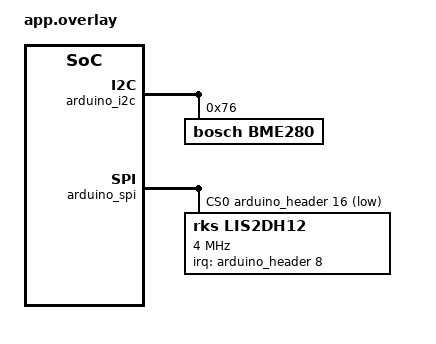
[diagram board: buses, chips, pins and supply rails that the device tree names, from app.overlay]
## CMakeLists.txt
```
# Author: Raguram Kasthurisamy
cmake_minimum_required(VERSION 3.20.0)
find_package(Zephyr REQUIRED HINTS $ENV{ZEPHYR_BASE})
project(ble_sensor_node)

target_sources(app PRIVATE
  src/main.c
  src/app_state.c
  src/ble_service.c
  src/channels.c
  src/node_config.c
  src/node_watchdog.c
  src/sensors.c
  src/telemetry.c
)
# The low-power build drops the shell entirely (overlay-low-power.conf).
target_sources_ifdef(CONFIG_SHELL app PRIVATE src/shell_cmds.c)
```

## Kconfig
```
# Author: Raguram Kasthurisamy
mainmenu "BLE sensor node"

config APP_SAMPLE_INTERVAL_MS
	int "Default sampling and reporting interval (ms)"
	default 1000
	range 100 10000
	help
	  How often the node reads its sensors and notifies a subscribed phone. Changeable at run
	  time over BLE or the shell; the new value is kept in flash.

config APP_SLOW_ADVERTISING
	bool "Advertise at about 1 s intervals to save power"
	help
	  Off: fast connectable advertising for quick connections during development.
	  On: slow advertising for battery-powered use (set by overlay-low-power.conf).

source "Kconfig.zephyr"
```

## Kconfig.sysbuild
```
# Author: Raguram Kasthurisamy
# On the nRF5340 the Bluetooth radio runs on the network core: build its firmware too.
# These defaults have no effect on single-core chips such as the nRF52840.
source "${ZEPHYR_BASE}/share/sysbuild/Kconfig"

config NRF_DEFAULT_IPC_RADIO
	default y

config NETCORE_IPC_RADIO_BT_HCI_IPC
	default y
```

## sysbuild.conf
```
# Author: Raguram Kasthurisamy
# MCUboot as the bootloader: images are signed, and an update is tried once and reverted
# unless the new firmware confirms itself after passing its self-test.
SB_CONFIG_BOOTLOADER_MCUBOOT=y
SB_CONFIG_BOOT_SIGNATURE_TYPE_ECDSA_P256=y
# Your own signing key: create it with scripts/gen_signing_key.sh and pass it on the command
# line (see README). Without it, MCUboot's public development key is used, which is fine for
# trying things out and useless for security.
```

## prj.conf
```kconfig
# Author: Raguram Kasthurisamy
# ---- Diagnostics -----------------------------------------------------------------------
CONFIG_LOG=y
CONFIG_SHELL=y
CONFIG_ASSERT=y
CONFIG_HWINFO=y
CONFIG_REBOOT=y

# ---- Sensors: BME280 (upstream driver, I2C) and LIS2DH12 (project driver, SPI) ------------
CONFIG_SENSOR=y
CONFIG_I2C=y
CONFIG_SPI=y
CONFIG_GPIO=y
CONFIG_RKS_LIS2DH12_TRIGGER=y

# ---- Inter-module messaging ---------------------------------------------------------------
CONFIG_ZBUS=y
CONFIG_ZBUS_CHANNEL_NAME=y

# ---- Bluetooth LE peripheral with LE Secure Connections ----------------------------------
CONFIG_BT=y
CONFIG_BT_PERIPHERAL=y
CONFIG_BT_DEVICE_NAME="RKS Sensor Node"
CONFIG_BT_DEVICE_APPEARANCE=1344
CONFIG_BT_MAX_CONN=1
CONFIG_BT_SMP=y
CONFIG_BT_SMP_SC_PAIR_ONLY=y
CONFIG_BT_SETTINGS=y
# Ask the phone for a 30-50 ms connection interval: responsive without draining power.
CONFIG_BT_PERIPHERAL_PREF_MIN_INT=24
CONFIG_BT_PERIPHERAL_PREF_MAX_INT=40
CONFIG_BT_PERIPHERAL_PREF_LATENCY=0
CONFIG_BT_PERIPHERAL_PREF_TIMEOUT=400

# ---- Persistent storage: bonds and the sampling interval --------------------------------
CONFIG_SETTINGS=y
CONFIG_FLASH=y
CONFIG_FLASH_MAP=y
CONFIG_NVS=y
CONFIG_SETTINGS_NVS=y

# ---- Firmware updates over BLE (MCUmgr SMP) and image confirmation -----------------------
CONFIG_NCS_SAMPLE_MCUMGR_BT_OTA_DFU=y
CONFIG_IMG_MANAGER=y
CONFIG_MCUBOOT_IMG_MANAGER=y
CONFIG_STREAM_FLASH=y

# ---- Watchdog: per-thread task watchdog backed by the hardware WDT ------------------------
CONFIG_WATCHDOG=y
CONFIG_TASK_WDT=y

# ---- Development kit LEDs ------------------------------------------------------------------
CONFIG_DK_LIBRARY=y

# ---- Stacks ------------------------------------------------------------------------------------
CONFIG_MAIN_STACK_SIZE=2048
CONFIG_SYSTEM_WORKQUEUE_STACK_SIZE=2048
```

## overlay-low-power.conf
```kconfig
# Author: Raguram Kasthurisamy
# Low-power build for current measurements:
#   west build -b <board> app --sysbuild -- -DEXTRA_CONF_FILE=overlay-low-power.conf
# The UART alone draws hundreds of microamps while its receiver is enabled, so the console,
# shell and logging go. Pair the phone with the normal build first: bonds are kept in flash.
CONFIG_SERIAL=n
CONFIG_CONSOLE=n
CONFIG_UART_CONSOLE=n
CONFIG_SHELL=n
CONFIG_LOG=n
CONFIG_APP_SLOW_ADVERTISING=y
```

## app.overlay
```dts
/*
 * Author: Raguram Kasthurisamy *
 * Sensors on the Arduino-compatible header. The arduino_i2c / arduino_spi / arduino_header
 * labels exist on the nRF7002 DK, so this one overlay serves both.
 *
 *   BME280    I2C SDA/SCL, address 0x76 (SDO to GND), 3.3 V
 *   LIS2DH12  SPI SCK D13, MISO D12, MOSI D11, CS D10, INT1 D2, 3.3 V
 */
/ {
	aliases {
		env-sensor = &bme280;
		accel-sensor = &lis2dh12;
	};
};

&arduino_i2c {
	status = "okay";

	bme280: bme280@76 {
		compatible = "bosch,bme280";
		reg = <0x76>;
	};
};

&arduino_spi {
	status = "okay";
	cs-gpios = <&arduino_header 16 GPIO_ACTIVE_LOW>;	/* D10 */

	lis2dh12: lis2dh12@0 {
		compatible = "rks,lis2dh12";
		reg = <0>;
		spi-max-frequency = <4000000>;
		irq-gpios = <&arduino_header 8 GPIO_ACTIVE_HIGH>;	/* D2 = INT1 */
		odr-hz = <25>;
	};
};
```

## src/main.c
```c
/*
 * Author: Raguram Kasthurisamy
 *
 * BLE sensor node: life cycle and self-test.
 *
 * The main thread owns the application state machine (app_state.c). Callbacks from other
 * threads never change state themselves; they post events to a message queue, and only this
 * thread acts on them. On every boot of a not-yet-confirmed firmware image, the self-test
 * decides whether MCUboot keeps the new image or reverts to the previous one.
 */
#include <app_version.h>
#include <zephyr/drivers/hwinfo.h>
#include <zephyr/kernel.h>
#include <zephyr/logging/log.h>
#include <zephyr/sys/atomic.h>
#include <zephyr/sys/reboot.h>

#include <dk_buttons_and_leds.h>

#ifdef CONFIG_BOOTLOADER_MCUBOOT
#include <zephyr/dfu/mcuboot.h>
#endif

#include "app_events.h"
#include "app_state.h"
#include "ble_service.h"
#include "node_watchdog.h"
#include "sensors.h"

LOG_MODULE_REGISTER(main, LOG_LEVEL_INF);

#define STATUS_LED          DK_LED1
#define ERROR_LED           DK_LED2
#define LOOP_PERIOD_MS      250
#define IDENTIFY_MS         3000
#define MAIN_WDT_TIMEOUT_MS 3000

K_MSGQ_DEFINE(event_queue, sizeof(enum app_event), 8, 4);

static atomic_t current_state = ATOMIC_INIT(APP_STATE_BOOT);
static uint32_t boot_reset_cause;

void app_post_event(enum app_event event)
{
	if (k_msgq_put(&event_queue, &event, K_NO_WAIT) != 0) {
		LOG_WRN("event queue full, dropped event %d", event);
	}
}

enum app_state app_current_state(void)
{
	return (enum app_state)atomic_get(&current_state);
}

uint32_t app_reset_cause(void)
{
	return boot_reset_cause;
}

static void report_reset_cause(void)
{
	if (hwinfo_get_reset_cause(&boot_reset_cause) != 0) {
		return;
	}
	(void)hwinfo_clear_reset_cause();
	if (boot_reset_cause & RESET_WATCHDOG) {
		LOG_WRN("reset by the watchdog: a thread stopped running");
	} else if (boot_reset_cause & RESET_SOFTWARE) {
		LOG_INF("reset by software");
	} else if (boot_reset_cause & RESET_PIN) {
		LOG_INF("reset by the reset pin");
	} else if (boot_reset_cause & (RESET_POR | RESET_BROWNOUT)) {
		LOG_INF("power-on reset");
	}
}

/* Bluetooth must work for the node to be useful (and to receive the next update). Missing
 * sensors are reported but do not fail the test: a bare DK still boots and can be updated. */
static bool run_self_test(void)
{
	bool passed = true;
	const int err = ble_init();

	if (err != 0) {
		LOG_ERR("Bluetooth initialisation failed (%d)", err);
		passed = false;
	}
	(void)sensors_init();
	if (!sensors_env_ready()) {
		LOG_WRN("environment sensor not found: continuing without it");
	}
	if (!sensors_accel_ready()) {
		LOG_WRN("accelerometer not found: continuing without it");
	}
	return passed;
}

static void confirm_or_revert(bool passed)
{
#ifdef CONFIG_BOOTLOADER_MCUBOOT
	if (boot_is_img_confirmed()) {
		return;
	}
	if (passed) {
		const int err = boot_write_img_confirmed();

		if (err != 0) {
			LOG_ERR("image confirmation failed (%d)", err);
		} else {
			LOG_INF("new firmware passed its self-test and is now confirmed");
		}
		return;
	}
	LOG_ERR("self-test failed on an unconfirmed image: rebooting into the previous one");
	k_sleep(K_MSEC(200));
	sys_reboot(SYS_REBOOT_COLD);
#else
	ARG_UNUSED(passed);
#endif
}

static void enter_state(enum app_state next, enum app_state previous)
{
	atomic_set(&current_state, next);
	LOG_INF("state: %s -> %s", app_state_name(previous), app_state_name(next));

	switch (next) {
	case APP_STATE_SELF_TEST: {
		const bool passed = run_self_test();

		confirm_or_revert(passed);
		app_post_event(passed ? APP_EVENT_SELF_TEST_PASSED : APP_EVENT_SELF_TEST_FAILED);
		break;
	}
	case APP_STATE_ADVERTISING:
		if (previous == APP_STATE_SELF_TEST) {
			sensors_start();
			const int err = ble_start_advertising();

			if (err != 0) {
				LOG_ERR("advertising failed (%d)", err);
				app_post_event(APP_EVENT_FATAL);
			}
		}
		/* After a disconnect, the BLE module restarts advertising once the connection
		 * object is released (see recycled() in ble_service.c). */
		break;
	case APP_STATE_ERROR:
		(void)dk_set_led_on(ERROR_LED);
		break;
	default:
		break;
	}
}

static void update_leds(uint32_t tick, int64_t identify_until)
{
	const enum app_state state = app_current_state();
	const bool identifying = k_uptime_get() < identify_until;

	switch (state) {
	case APP_STATE_ADVERTISING:
		(void)dk_set_led(STATUS_LED, (tick % 4u) == 0u); /* short blink every second */
		break;
	case APP_STATE_CONNECTED:
		(void)dk_set_led_on(STATUS_LED);
		break;
	default:
		(void)dk_set_led_off(STATUS_LED);
		break;
	}
	if (state != APP_STATE_ERROR) {
		(void)dk_set_led(ERROR_LED, identifying && (tick % 2u) == 0u);
	}
}

int main(void)
{
	int64_t identify_until = 0;
	uint32_t tick = 0;

	LOG_INF("BLE sensor node %s", APP_VERSION_STRING);
	report_reset_cause();
	if (dk_leds_init() != 0) {
		LOG_WRN("LEDs unavailable");
	}
	if (node_watchdog_init() != 0) {
		LOG_ERR("watchdog initialisation failed");
	}
	const int wdt_channel = node_watchdog_add(MAIN_WDT_TIMEOUT_MS);

	app_post_event(APP_EVENT_START);

	while (true) {
		enum app_event event;

		if (k_msgq_get(&event_queue, &event, K_MSEC(LOOP_PERIOD_MS)) == 0) {
			if (event == APP_EVENT_IDENTIFY) {
				identify_until = k_uptime_get() + IDENTIFY_MS;
			} else {
				const enum app_state current = app_current_state();
				const enum app_state next = app_state_next(current, event);

				if (next != current) {
					enter_state(next, current);
				}
			}
		}
		update_leds(tick++, identify_until);
		node_watchdog_feed(wdt_channel);
	}
	return 0;
}
```

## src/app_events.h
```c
/*
 * Author: Raguram Kasthurisamy */
#ifndef APP_EVENTS_H_
#define APP_EVENTS_H_

#include <stdint.h>

#include "app_state.h"

/* Queue an event for the main thread. Safe from any thread or callback (never blocks). */
void app_post_event(enum app_event event);
enum app_state app_current_state(void);
uint32_t app_reset_cause(void);

#endif /* APP_EVENTS_H_ */
```

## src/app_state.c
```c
/*
 * Author: Raguram Kasthurisamy
 */
#include "app_state.h"

enum app_state app_state_next(enum app_state current, enum app_event event)
{
	if (event == APP_EVENT_FATAL) {
		return APP_STATE_ERROR;
	}
	switch (current) {
	case APP_STATE_BOOT:
		return event == APP_EVENT_START ? APP_STATE_SELF_TEST : current;
	case APP_STATE_SELF_TEST:
		if (event == APP_EVENT_SELF_TEST_PASSED) {
			return APP_STATE_ADVERTISING;
		}
		return event == APP_EVENT_SELF_TEST_FAILED ? APP_STATE_ERROR : current;
	case APP_STATE_ADVERTISING:
		return event == APP_EVENT_CONNECTED ? APP_STATE_CONNECTED : current;
	case APP_STATE_CONNECTED:
		return event == APP_EVENT_DISCONNECTED ? APP_STATE_ADVERTISING : current;
	case APP_STATE_ERROR:
		return current; /* only a reset leaves the error state */
	}
	return current;
}

const char *app_state_name(enum app_state state)
{
	switch (state) {
	case APP_STATE_BOOT: return "boot";
	case APP_STATE_SELF_TEST: return "self-test";
	case APP_STATE_ADVERTISING: return "advertising";
	case APP_STATE_CONNECTED: return "connected";
	case APP_STATE_ERROR: return "error";
	}
	return "unknown";
}
```

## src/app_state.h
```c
/*
 * Author: Raguram Kasthurisamy
 *
 * Application life cycle as an explicit state machine. The transition function is pure, so
 * every path is unit tested; main.c performs the actions on entering each state.
 */
#ifndef APP_STATE_H_
#define APP_STATE_H_

enum app_state {
	APP_STATE_BOOT,
	APP_STATE_SELF_TEST,
	APP_STATE_ADVERTISING,
	APP_STATE_CONNECTED,
	APP_STATE_ERROR,
};

enum app_event {
	APP_EVENT_START,
	APP_EVENT_SELF_TEST_PASSED,
	APP_EVENT_SELF_TEST_FAILED,
	APP_EVENT_CONNECTED,
	APP_EVENT_DISCONNECTED,
	APP_EVENT_FATAL,
	APP_EVENT_IDENTIFY, /* blink the LEDs; no state change */
};

enum app_state app_state_next(enum app_state current, enum app_event event);
const char *app_state_name(enum app_state state);

#endif /* APP_STATE_H_ */
```

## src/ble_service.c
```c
/*
 * Author: Raguram Kasthurisamy
 *
 * Bluetooth LE peripheral with one custom GATT service:
 *   telemetry  read + notify   needs an encrypted link to read or to subscribe
 *   command    write           needs an authenticated (passkey) pairing
 *   interval   read + write    write needs an authenticated pairing
 * Pairing uses LE Secure Connections only. The node displays a passkey (here: on the log),
 * the phone user types it, which protects against man-in-the-middle attacks; the bond is
 * stored in flash so the phone reconnects without pairing again.
 */
#include "ble_service.h"

#include <zephyr/bluetooth/bluetooth.h>
#include <zephyr/bluetooth/conn.h>
#include <zephyr/bluetooth/gatt.h>
#include <zephyr/bluetooth/uuid.h>
#include <zephyr/kernel.h>
#include <zephyr/logging/log.h>
#include <zephyr/settings/settings.h>
#include <zephyr/sys/byteorder.h>
#include <zephyr/zbus/zbus.h>

#include "app_events.h"
#include "channels.h"
#include "node_config.h"
#include "sensors.h"
#include "telemetry.h"

LOG_MODULE_REGISTER(ble, LOG_LEVEL_INF);

#define NODE_SERVICE_UUID_VAL   BT_UUID_128_ENCODE(0x9a3b0001, 0x6c0e, 0x4b6f, 0x8e8a, 0x2f5d1c7b4e10)
#define TELEMETRY_CHAR_UUID_VAL BT_UUID_128_ENCODE(0x9a3b0002, 0x6c0e, 0x4b6f, 0x8e8a, 0x2f5d1c7b4e10)
#define COMMAND_CHAR_UUID_VAL   BT_UUID_128_ENCODE(0x9a3b0003, 0x6c0e, 0x4b6f, 0x8e8a, 0x2f5d1c7b4e10)
#define INTERVAL_CHAR_UUID_VAL  BT_UUID_128_ENCODE(0x9a3b0004, 0x6c0e, 0x4b6f, 0x8e8a, 0x2f5d1c7b4e10)

static const struct bt_uuid_128 node_service_uuid = BT_UUID_INIT_128(NODE_SERVICE_UUID_VAL);
static const struct bt_uuid_128 telemetry_uuid = BT_UUID_INIT_128(TELEMETRY_CHAR_UUID_VAL);
static const struct bt_uuid_128 command_uuid = BT_UUID_INIT_128(COMMAND_CHAR_UUID_VAL);
static const struct bt_uuid_128 interval_uuid = BT_UUID_INIT_128(INTERVAL_CHAR_UUID_VAL);

enum node_command {
	NODE_CMD_SAMPLE_NOW = 0x01,
	NODE_CMD_IDENTIFY = 0x02,
};

static struct k_spinlock telemetry_lock;
static uint8_t telemetry_value[TELEMETRY_PACKET_SIZE]; /* guarded by telemetry_lock */
static bool notify_enabled;
static struct bt_conn *current_conn;
static struct k_work notify_work;
static struct k_work adv_work;

/* ---- GATT service ------------------------------------------------------------------- */

static void telemetry_ccc_changed(const struct bt_gatt_attr *attr, uint16_t value)
{
	ARG_UNUSED(attr);
	notify_enabled = value == BT_GATT_CCC_NOTIFY;
	LOG_INF("telemetry notifications %s", notify_enabled ? "on" : "off");
}

static ssize_t read_telemetry(struct bt_conn *conn, const struct bt_gatt_attr *attr, void *buf,
			      uint16_t len, uint16_t offset)
{
	uint8_t copy[TELEMETRY_PACKET_SIZE];
	k_spinlock_key_t key = k_spin_lock(&telemetry_lock);

	memcpy(copy, telemetry_value, sizeof(copy));
	k_spin_unlock(&telemetry_lock, key);
	return bt_gatt_attr_read(conn, attr, buf, len, offset, copy, sizeof(copy));
}

static ssize_t write_command(struct bt_conn *conn, const struct bt_gatt_attr *attr,
			     const void *buf, uint16_t len, uint16_t offset, uint8_t flags)
{
	ARG_UNUSED(conn);
	ARG_UNUSED(attr);
	ARG_UNUSED(flags);

	if (offset != 0 || len != 1) {
		return BT_GATT_ERR(BT_ATT_ERR_INVALID_ATTRIBUTE_LEN);
	}
	switch (((const uint8_t *)buf)[0]) {
	case NODE_CMD_SAMPLE_NOW:
		sensors_request_sample();
		break;
	case NODE_CMD_IDENTIFY:
		app_post_event(APP_EVENT_IDENTIFY);
		break;
	default:
		return BT_GATT_ERR(BT_ATT_ERR_VALUE_NOT_ALLOWED);
	}
	return len;
}

static ssize_t read_interval(struct bt_conn *conn, const struct bt_gatt_attr *attr, void *buf,
			     uint16_t len, uint16_t offset)
{
	const uint16_t value = sys_cpu_to_le16((uint16_t)node_config_interval_ms());

	return bt_gatt_attr_read(conn, attr, buf, len, offset, &value, sizeof(value));
}

static ssize_t write_interval(struct bt_conn *conn, const struct bt_gatt_attr *attr,
			      const void *buf, uint16_t len, uint16_t offset, uint8_t flags)
{
	ARG_UNUSED(conn);
	ARG_UNUSED(attr);
	ARG_UNUSED(flags);

	if (offset != 0 || len != sizeof(uint16_t)) {
		return BT_GATT_ERR(BT_ATT_ERR_INVALID_ATTRIBUTE_LEN);
	}
	if (node_config_set_interval_ms(sys_get_le16(buf)) != 0) {
		return BT_GATT_ERR(BT_ATT_ERR_VALUE_NOT_ALLOWED);
	}
	return len;
}

/* Attribute order matters: index 2 is the telemetry value used for notifications. */
BT_GATT_SERVICE_DEFINE(node_svc,
	BT_GATT_PRIMARY_SERVICE(&node_service_uuid),
	BT_GATT_CHARACTERISTIC(&telemetry_uuid.uuid, BT_GATT_CHRC_READ | BT_GATT_CHRC_NOTIFY,
			       BT_GATT_PERM_READ_ENCRYPT, read_telemetry, NULL, NULL),
	BT_GATT_CCC(telemetry_ccc_changed, BT_GATT_PERM_READ | BT_GATT_PERM_WRITE_ENCRYPT),
	BT_GATT_CHARACTERISTIC(&command_uuid.uuid, BT_GATT_CHRC_WRITE,
			       BT_GATT_PERM_WRITE_AUTHEN, NULL, write_command, NULL),
	BT_GATT_CHARACTERISTIC(&interval_uuid.uuid, BT_GATT_CHRC_READ | BT_GATT_CHRC_WRITE,
			       BT_GATT_PERM_READ_ENCRYPT | BT_GATT_PERM_WRITE_AUTHEN,
			       read_interval, write_interval, NULL),
);

#define TELEMETRY_ATTR (&node_svc.attrs[2])

/* ---- zbus: telemetry in, notification out --------------------------------------------- */

/* Listeners run synchronously in the publisher's thread with the channel locked, so only
 * copy the data here; the notification itself goes out from the system work queue. */
static void on_telemetry(const struct zbus_channel *chan)
{
	const struct node_telemetry *telemetry = zbus_chan_const_msg(chan);
	uint8_t packet[TELEMETRY_PACKET_SIZE];

	(void)telemetry_encode(telemetry, packet);
	k_spinlock_key_t key = k_spin_lock(&telemetry_lock);

	memcpy(telemetry_value, packet, sizeof(packet));
	k_spin_unlock(&telemetry_lock, key);
	(void)k_work_submit(&notify_work);
}

ZBUS_LISTENER_DEFINE(ble_telemetry_listener, on_telemetry);

static void notify_work_handler(struct k_work *work)
{
	uint8_t copy[TELEMETRY_PACKET_SIZE];

	ARG_UNUSED(work);
	if (!notify_enabled || current_conn == NULL) {
		return;
	}
	k_spinlock_key_t key = k_spin_lock(&telemetry_lock);

	memcpy(copy, telemetry_value, sizeof(copy));
	k_spin_unlock(&telemetry_lock, key);
	const int err = bt_gatt_notify(NULL, TELEMETRY_ATTR, copy, sizeof(copy));

	if (err != 0 && err != -ENOTCONN) {
		LOG_WRN("notify failed (%d)", err);
	}
}

/* ---- Advertising ------------------------------------------------------------------------ */

static const struct bt_data advertising_data[] = {
	BT_DATA_BYTES(BT_DATA_FLAGS, (BT_LE_AD_GENERAL | BT_LE_AD_NO_BREDR)),
	BT_DATA_BYTES(BT_DATA_UUID128_ALL, NODE_SERVICE_UUID_VAL),
};

static const struct bt_data scan_response[] = {
	BT_DATA(BT_DATA_NAME_COMPLETE, CONFIG_BT_DEVICE_NAME, sizeof(CONFIG_BT_DEVICE_NAME) - 1),
};

int ble_start_advertising(void)
{
#ifdef CONFIG_APP_SLOW_ADVERTISING
	const struct bt_le_adv_param *param = BT_LE_ADV_PARAM(
		BT_LE_ADV_OPT_CONN, BT_GAP_ADV_SLOW_INT_MIN, BT_GAP_ADV_SLOW_INT_MAX, NULL);
#else
	const struct bt_le_adv_param *param = BT_LE_ADV_CONN_FAST_1;
#endif
	const int err = bt_le_adv_start(param, advertising_data, ARRAY_SIZE(advertising_data),
					scan_response, ARRAY_SIZE(scan_response));

	return err == -EALREADY ? 0 : err;
}

static void adv_work_handler(struct k_work *work)
{
	ARG_UNUSED(work);
	const int err = ble_start_advertising();

	if (err != 0) {
		LOG_ERR("advertising restart failed (%d)", err);
	}
}

/* ---- Connection and security callbacks --------------------------------------------------- */

static void connected(struct bt_conn *conn, uint8_t err)
{
	if (err != 0) {
		LOG_WRN("connection failed (0x%02x)", err);
		return;
	}
	current_conn = bt_conn_ref(conn);
	LOG_INF("connected");
	app_post_event(APP_EVENT_CONNECTED);
}

static void disconnected(struct bt_conn *conn, uint8_t reason)
{
	ARG_UNUSED(conn);
	LOG_INF("disconnected (reason 0x%02x)", reason);
	if (current_conn != NULL) {
		bt_conn_unref(current_conn);
		current_conn = NULL;
	}
	notify_enabled = false;
	app_post_event(APP_EVENT_DISCONNECTED);
}

/* The connection object has been freed: only now can advertising start again. */
static void recycled(void)
{
	(void)k_work_submit(&adv_work);
}

static void security_changed(struct bt_conn *conn, bt_security_t level, enum bt_security_err err)
{
	ARG_UNUSED(conn);
	if (err != 0) {
		LOG_WRN("security failed: level %u, error %d", level, err);
	} else {
		LOG_INF("security level %u", level);
	}
}

BT_CONN_CB_DEFINE(conn_callbacks) = {
	.connected = connected,
	.disconnected = disconnected,
	.recycled = recycled,
	.security_changed = security_changed,
};

static void passkey_display(struct bt_conn *conn, unsigned int passkey)
{
	ARG_UNUSED(conn);
	LOG_INF("pairing passkey: %06u (enter it on the phone)", passkey);
}

static void auth_cancel(struct bt_conn *conn)
{
	ARG_UNUSED(conn);
	LOG_INF("pairing cancelled");
}

static void pairing_complete(struct bt_conn *conn, bool bonded)
{
	ARG_UNUSED(conn);
	LOG_INF("pairing complete, %s", bonded ? "bonded" : "not bonded");
}

static void pairing_failed(struct bt_conn *conn, enum bt_security_err reason)
{
	ARG_UNUSED(conn);
	LOG_WRN("pairing failed (%d)", reason);
}

static struct bt_conn_auth_cb auth_callbacks = {
	.passkey_display = passkey_display,
	.cancel = auth_cancel,
};

static struct bt_conn_auth_info_cb auth_info_callbacks = {
	.pairing_complete = pairing_complete,
	.pairing_failed = pairing_failed,
};

/* ---- Public API ------------------------------------------------------------------------------ */

int ble_init(void)
{
	int err;

	k_work_init(&notify_work, notify_work_handler);
	k_work_init(&adv_work, adv_work_handler);

	err = bt_conn_auth_cb_register(&auth_callbacks);
	if (err != 0) {
		return err;
	}
	err = bt_conn_auth_info_cb_register(&auth_info_callbacks);
	if (err != 0) {
		return err;
	}
	err = bt_enable(NULL);
	if (err != 0) {
		return err;
	}
	if (IS_ENABLED(CONFIG_SETTINGS)) {
		err = settings_load(); /* bonds, identity address, and node/ settings */
	}
	return err;
}

bool ble_is_connected(void)
{
	return current_conn != NULL;
}
```

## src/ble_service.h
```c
/*
 * Author: Raguram Kasthurisamy
 */
#ifndef BLE_SERVICE_H_
#define BLE_SERVICE_H_

#include <stdbool.h>

/* Registers pairing callbacks, enables Bluetooth and loads bonds and settings from flash. */
int ble_init(void);
int ble_start_advertising(void);
bool ble_is_connected(void);

#endif /* BLE_SERVICE_H_ */
```

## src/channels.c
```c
/*
 * Author: Raguram Kasthurisamy
 */
#include "channels.h"

ZBUS_OBS_DECLARE(ble_telemetry_listener);

ZBUS_CHAN_DEFINE(telemetry_chan, struct node_telemetry, NULL, NULL,
		 ZBUS_OBSERVERS(ble_telemetry_listener), ZBUS_MSG_INIT(0));
```

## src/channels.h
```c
/*
 * Author: Raguram Kasthurisamy
 *
 * zbus channels: the only way modules exchange data. The sensor module publishes, BLE (and
 * the shell) observe; neither knows the other exists.
 */
#ifndef CHANNELS_H_
#define CHANNELS_H_

#include <zephyr/zbus/zbus.h>

#include "telemetry.h"

ZBUS_CHAN_DECLARE(telemetry_chan);

#endif /* CHANNELS_H_ */
```

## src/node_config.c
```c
/*
 * Author: Raguram Kasthurisamy
 */
#include "node_config.h"

#include <errno.h>
#include <zephyr/settings/settings.h>
#include <zephyr/sys/atomic.h>

static atomic_t interval_ms = ATOMIC_INIT(CONFIG_APP_SAMPLE_INTERVAL_MS);

static bool interval_valid(uint32_t value)
{
	return value >= NODE_INTERVAL_MIN_MS && value <= NODE_INTERVAL_MAX_MS;
}

/* Called by settings_load() for every stored key under "node/". */
static int node_settings_set(const char *key, size_t len, settings_read_cb read_cb, void *cb_arg)
{
	const char *next;
	uint32_t value;

	if (settings_name_steq(key, "interval", &next) && next == NULL) {
		if (len != sizeof(value)) {
			return -EINVAL;
		}
		const ssize_t rc = read_cb(cb_arg, &value, sizeof(value));

		if (rc < 0) {
			return (int)rc;
		}
		if (interval_valid(value)) {
			atomic_set(&interval_ms, (atomic_val_t)value);
		}
		return 0;
	}
	return -ENOENT;
}

SETTINGS_STATIC_HANDLER_DEFINE(node, "node", NULL, node_settings_set, NULL, NULL);

uint32_t node_config_interval_ms(void)
{
	return (uint32_t)atomic_get(&interval_ms);
}

int node_config_set_interval_ms(uint32_t value)
{
	if (!interval_valid(value)) {
		return -EINVAL;
	}
	atomic_set(&interval_ms, (atomic_val_t)value);
	return settings_save_one("node/interval", &value, sizeof(value));
}
```

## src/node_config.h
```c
/*
 * Author: Raguram Kasthurisamy
 *
 * Run-time configuration kept in flash through Zephyr's settings subsystem.
 */
#ifndef NODE_CONFIG_H_
#define NODE_CONFIG_H_

#include <stdint.h>

#define NODE_INTERVAL_MIN_MS 100u
#define NODE_INTERVAL_MAX_MS 10000u

uint32_t node_config_interval_ms(void);
/* Validates, applies and persists. Returns -EINVAL outside the allowed range. */
int node_config_set_interval_ms(uint32_t interval_ms);

#endif /* NODE_CONFIG_H_ */
```

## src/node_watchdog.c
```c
/*
 * Author: Raguram Kasthurisamy
 */
#include "node_watchdog.h"

#include <zephyr/device.h>
#include <zephyr/devicetree.h>
#include <zephyr/task_wdt/task_wdt.h>

int node_watchdog_init(void)
{
	const struct device *hw_wdt = NULL;

#if DT_NODE_HAS_STATUS(DT_ALIAS(watchdog0), okay)
	hw_wdt = DEVICE_DT_GET(DT_ALIAS(watchdog0));
	if (!device_is_ready(hw_wdt)) {
		hw_wdt = NULL; /* the task watchdog still works on a kernel timer alone */
	}
#endif
	return task_wdt_init(hw_wdt);
}

int node_watchdog_add(uint32_t timeout_ms)
{
	return task_wdt_add(timeout_ms, NULL, NULL); /* no callback: timeout resets the system */
}

void node_watchdog_feed(int channel)
{
	if (channel >= 0) {
		(void)task_wdt_feed(channel);
	}
}
```

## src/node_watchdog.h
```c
/*
 * Author: Raguram Kasthurisamy
 *
 * Per-thread watchdog. Each critical thread gets its own channel with its own timeout; the
 * hardware watchdog is only fed while every channel is fed, so one stuck thread is enough to
 * reset the chip.
 */
#ifndef NODE_WATCHDOG_H_
#define NODE_WATCHDOG_H_

#include <stdint.h>

int node_watchdog_init(void);
/* Returns a channel id, or a negative error. A missed timeout resets the system. */
int node_watchdog_add(uint32_t timeout_ms);
void node_watchdog_feed(int channel);

#endif /* NODE_WATCHDOG_H_ */
```

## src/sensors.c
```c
/*
 * Author: Raguram Kasthurisamy
 *
 * Sampling. The accelerometer streams at its own data rate through the data-ready trigger;
 * each sample updates the latest reading and the peak motion level. Once per reporting
 * interval the sensor thread reads the environment sensor and publishes one telemetry
 * message on zbus. Fast event-driven sampling, slow reporting: the phone sees a short jolt
 * even when it falls between two reports.
 */
#include "sensors.h"

#include <zephyr/device.h>
#include <zephyr/devicetree.h>
#include <zephyr/drivers/sensor.h>
#include <zephyr/kernel.h>
#include <zephyr/logging/log.h>

#include "channels.h"
#include "node_config.h"
#include "node_watchdog.h"
#include "telemetry.h"

LOG_MODULE_REGISTER(sensors, LOG_LEVEL_INF);

#define ENV_NODE   DT_ALIAS(env_sensor)
#define ACCEL_NODE DT_ALIAS(accel_sensor)

#if DT_NODE_HAS_STATUS(ENV_NODE, okay)
static const struct device *const env_dev = DEVICE_DT_GET(ENV_NODE);
#else
static const struct device *const env_dev;
#endif

#if DT_NODE_HAS_STATUS(ACCEL_NODE, okay)
static const struct device *const accel_dev = DEVICE_DT_GET(ACCEL_NODE);
#else
static const struct device *const accel_dev;
#endif

#define SENSOR_THREAD_STACK    2048
#define SENSOR_THREAD_PRIORITY 7

static K_SEM_DEFINE(sample_now, 0, 1);
static struct k_spinlock motion_lock;
static struct motion_reading latest_motion; /* guarded by motion_lock */
static int32_t peak_motion_mg;              /* guarded by motion_lock */
static bool env_ok;
static bool accel_ok;
static bool trigger_active;

static int32_t ms2_to_mg(const struct sensor_value *value)
{
	const int64_t micro_ms2 = (int64_t)value->val1 * 1000000 + value->val2;

	return (int32_t)(micro_ms2 * 1000 / 9806650); /* 1 g = 9.80665 m/s^2 */
}

static void read_accel(void)
{
	struct sensor_value xyz[3];
	struct motion_reading reading = {.valid = true};

	if (sensor_sample_fetch(accel_dev) < 0 ||
	    sensor_channel_get(accel_dev, SENSOR_CHAN_ACCEL_XYZ, xyz) < 0) {
		return;
	}
	for (int axis = 0; axis < 3; axis++) {
		reading.accel_mg[axis] = ms2_to_mg(&xyz[axis]);
	}
	const int32_t level = telemetry_motion_level_mg(reading.accel_mg[0], reading.accel_mg[1],
							reading.accel_mg[2]);
	k_spinlock_key_t key = k_spin_lock(&motion_lock);

	latest_motion = reading;
	if (level > peak_motion_mg) {
		peak_motion_mg = level;
	}
	k_spin_unlock(&motion_lock, key);
}

/* Runs in the system work queue (see the driver), at the accelerometer's data rate. */
static void accel_data_ready(const struct device *dev, const struct sensor_trigger *trigger)
{
	ARG_UNUSED(dev);
	ARG_UNUSED(trigger);
	read_accel();
}

static int32_t centi(const struct sensor_value *value)
{
	return value->val1 * 100 + value->val2 / 10000;
}

static struct env_reading read_env(void)
{
	struct env_reading reading = {0};
	struct sensor_value temperature, pressure, humidity;

	if (sensor_sample_fetch(env_dev) < 0 ||
	    sensor_channel_get(env_dev, SENSOR_CHAN_AMBIENT_TEMP, &temperature) < 0 ||
	    sensor_channel_get(env_dev, SENSOR_CHAN_PRESS, &pressure) < 0 ||
	    sensor_channel_get(env_dev, SENSOR_CHAN_HUMIDITY, &humidity) < 0) {
		return reading;
	}
	reading.temperature_centi_c = centi(&temperature);
	reading.humidity_centi_pct = (uint32_t)centi(&humidity);
	/* Zephyr reports pressure in kPa. */
	reading.pressure_pa = (uint32_t)(pressure.val1 * 1000 + pressure.val2 / 1000);
	reading.valid = true;
	return reading;
}

static void sensor_thread(void *p1, void *p2, void *p3)
{
	ARG_UNUSED(p1);
	ARG_UNUSED(p2);
	ARG_UNUSED(p3);

	/* Longer than the longest reporting interval, so a slow interval is never a "hang". */
	const int wdt_channel = node_watchdog_add(2u * NODE_INTERVAL_MAX_MS + 1000u);
	uint32_t sequence = 0;

	while (true) {
		(void)k_sem_take(&sample_now, K_MSEC(node_config_interval_ms()));

		struct node_telemetry telemetry = {0};

		telemetry.sequence = ++sequence;
		telemetry.uptime_ms = k_uptime_get_32();
		if (env_ok) {
			telemetry.env = read_env();
		}
		if (accel_ok) {
			if (!trigger_active) {
				read_accel(); /* no INT1 wired: poll instead */
			}
			k_spinlock_key_t key = k_spin_lock(&motion_lock);

			telemetry.motion = latest_motion;
			telemetry.motion.peak_motion_mg = peak_motion_mg;
			peak_motion_mg = 0;
			k_spin_unlock(&motion_lock, key);
		}
		if (zbus_chan_pub(&telemetry_chan, &telemetry, K_MSEC(100)) != 0) {
			LOG_WRN("telemetry publish timed out");
		}
		node_watchdog_feed(wdt_channel);
	}
}

K_THREAD_DEFINE(sensor_tid, SENSOR_THREAD_STACK, sensor_thread, NULL, NULL, NULL,
		SENSOR_THREAD_PRIORITY, 0, SYS_FOREVER_MS);

int sensors_init(void)
{
	static const struct sensor_trigger data_ready = {
		.type = SENSOR_TRIG_DATA_READY,
		.chan = SENSOR_CHAN_ACCEL_XYZ,
	};

	env_ok = env_dev != NULL && device_is_ready(env_dev);
	accel_ok = accel_dev != NULL && device_is_ready(accel_dev);
	if (accel_ok) {
		trigger_active = sensor_trigger_set(accel_dev, &data_ready, accel_data_ready) == 0;
	}
	LOG_INF("environment sensor: %s, accelerometer: %s%s", env_ok ? "ok" : "missing",
		accel_ok ? "ok" : "missing", trigger_active ? " (data-ready trigger)" : "");
	return 0;
}

void sensors_start(void)
{
	static bool started;

	if (!started) {
		started = true;
		k_thread_start(sensor_tid);
	}
}

void sensors_request_sample(void)
{
	k_sem_give(&sample_now);
}

bool sensors_env_ready(void)
{
	return env_ok;
}

bool sensors_accel_ready(void)
{
	return accel_ok;
}
```
